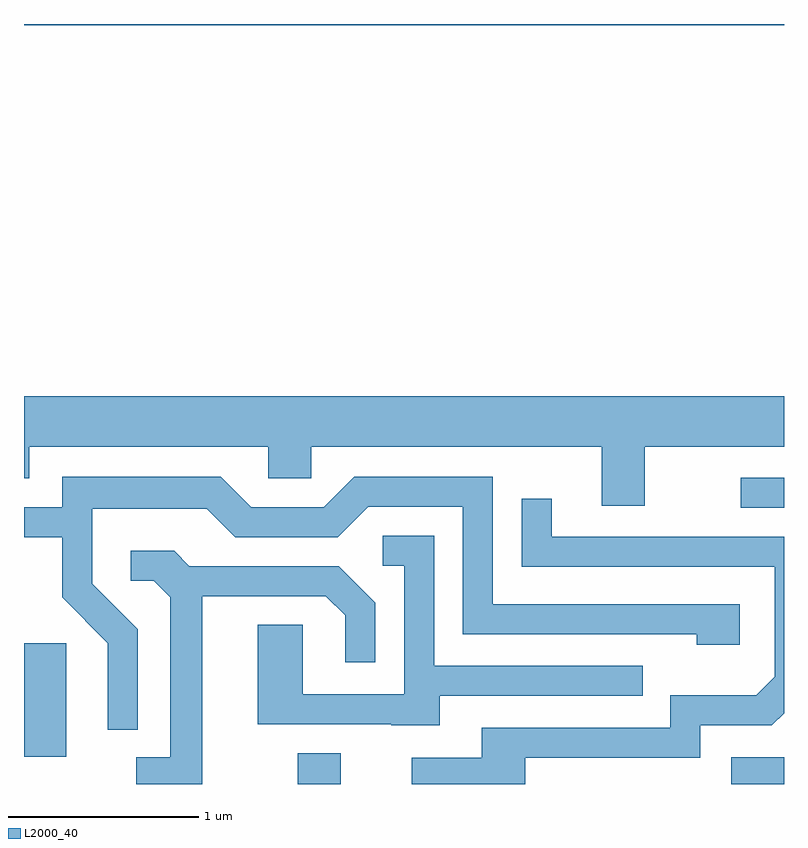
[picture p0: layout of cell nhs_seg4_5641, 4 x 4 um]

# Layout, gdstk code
import gdstk
lib = gdstk.Library(unit=1e-6, precision=1e-09)
def R(c, l, rs):  # rectangles x0, y0, x1, y1
    for r in rs: c.add(gdstk.rectangle(r[:2], r[2:], *l))
def P(c, l, *ps):  # polygons
    for p in ps: c.add(gdstk.Polygon(p, *l))
L2000_40 = (2000, 40)

nhs_seg4_5641 = lib.new_cell('nhs_seg4_5641')
R(nhs_seg4_5641, L2000_40, [(351.051,1383.982,351.279,1384.144), (353.333,1383.982,353.611,1384.124), (349.611,1384.126,349.834,1384.724), (353.383,1385.436,353.611,1385.594), (349.611,1387.976,353.611,1387.982)])
P(nhs_seg4_5641, L2000_40, [(349.611,1385.591),(349.639,1385.591),(349.639,1385.756),(350.896,1385.756),(350.896,1385.591),(351.124,1385.591),(351.124,1385.756),(352.651,1385.756),(352.651,1385.446),(352.879,1385.446),(352.879,1385.756),(353.611,1385.756),(353.611,1386.024),(349.611,1386.024)],
  [(350.209,1384.797),(349.969,1385.037),(349.969,1385.431),(350.574,1385.431),(350.724,1385.281),(351.262,1385.281),(351.422,1385.441),(351.921,1385.441),(351.921,1384.771),(353.151,1384.771),(353.151,1384.716),(353.379,1384.716),(353.379,1384.929),(352.079,1384.929),(352.079,1385.599),(351.349,1385.599),(351.189,1385.439),(350.807,1385.439),(350.647,1385.599),(349.811,1385.599),(349.811,1385.439),(349.611,1385.439),(349.611,1385.281),(349.811,1385.281),(349.811,1384.964),(350.051,1384.724),(350.051,1384.268),(350.209,1384.268)],
  [(352.249,1384.121),(353.169,1384.121),(353.169,1384.291),(353.547,1384.291),(353.611,1384.355),(353.611,1385.284),(352.389,1385.284),(352.389,1385.483),(352.231,1385.483),(352.231,1385.126),(353.561,1385.126),(353.561,1384.547),(353.464,1384.449),(353.011,1384.449),(353.011,1384.279),(352.021,1384.279),(352.021,1384.119),(351.653,1384.119),(351.653,1383.982),(352.249,1383.982)],
  [(351.799,1384.446),(352.868,1384.446),(352.868,1384.604),(351.769,1384.604),(351.769,1385.289),(351.498,1385.289),(351.498,1385.131),(351.611,1385.131),(351.611,1384.454),(351.079,1384.454),(351.079,1384.819),(350.841,1384.819),(350.841,1384.296),(351.545,1384.296),(351.545,1384.291),(351.799,1384.291)],
  [(350.549,1384.971),(351.199,1384.971),(351.301,1384.869),(351.301,1384.623),(351.459,1384.623),(351.459,1384.937),(351.267,1385.129),(350.482,1385.129),(350.402,1385.209),(350.173,1385.209),(350.173,1385.051),(350.294,1385.051),(350.381,1384.964),(350.381,1384.124),(350.203,1384.124),(350.203,1383.982),(350.549,1383.982)])

lib.write_gds('nhs_seg4_5641.gds')
